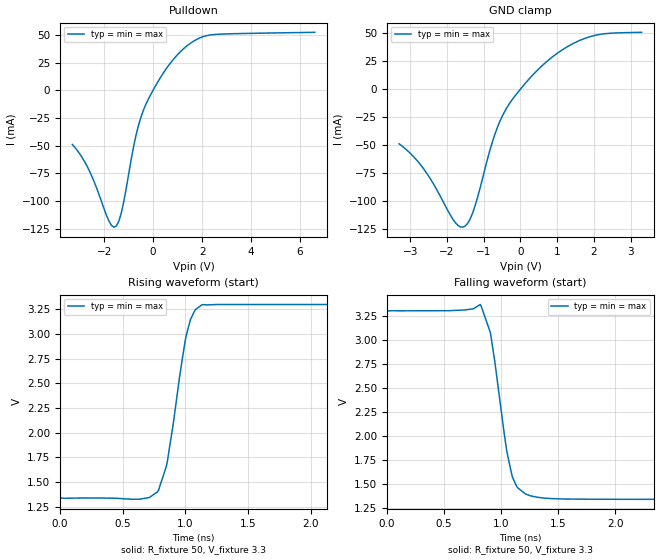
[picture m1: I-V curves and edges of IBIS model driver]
| IBIS file ex2_opendrain.ibs created by PYS2IBIS3
| Missouri S&T EMC Lab
[IBIS Ver] 7.1
[File Name] ex2_opendrain.ibs
[File Rev] 1.0
[Date] July 28, 2026
[Source] ex2 open-drain variant -- output pullup removed
[Notes] ex2 with the five output-stage pullup PMOS removed, so the pad has no
 path to VCC and is driven low only.
[Disclaimer] Experimental characterization for pybis observability study.
[Component] MCM Driver 1
[Manufacturer] MegaFLOPS Inc.
[Package]
| variable   typ   min   max
R_pkg 0 NA NA
L_pkg 0H NA NA
C_pkg 0F NA NA
[Pin]  signal_name   model_name   R_pin   L_pin   C_pin
vdd   vdd   POWER
gnd   gnd   GND
| in in dummy
out   out   driver
| End of Component
| Models and submodels in the file (1): driver (Open_drain)
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[Model] driver
Model_type Open_drain
Polarity Non-Inverting
Enable Active-Low
Vinl  = 0.8V
Vinh  = 2V
C_comp 5.0000pF 5.0000pF 5.0000pF
[Temperature Range] 27.0000 27.0000 27.0000
[Voltage Range] 3.3000V 3.3000V 3.3000V
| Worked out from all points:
|   slope of the pulldown table from 0 to 0.495 V, typ, clamps not added: 27.4 ohm
|   rising waveform, R_fixture 50, V_fixture 3.3: 20-80 % time 137ps typ, 137ps min, 137ps max; typ from 1.34 V to 3.3 V
|   falling waveform, R_fixture 50, V_fixture 3.3: 20-80 % time 141ps typ, 141ps min, 141ps max; typ from 3.3 V to 1.34 V
[Pulldown]
| Voltage   I(typ)   I(min)   I(max)
-3.3V     -48.93mA   -48.93mA   -48.93mA
-2.7V     -68.42mA   -68.42mA   -68.42mA
-1.8V     -118.2mA   -118.2mA   -118.2mA
-1.6V     -123.6mA   -123.6mA   -123.6mA
-1.4V     -118.3mA   -118.3mA   -118.3mA
-1.3V     -110.9mA   -110.9mA   -110.9mA
-700mV    -40.92mA   -40.92mA   -40.92mA
-400mV    -18.31mA   -18.31mA   -18.31mA
300mV     11.47mA    11.47mA    11.47mA
1.1V      34.42mA    34.42mA    34.42mA
2.3V      49.75mA    49.75mA    49.75mA
6.6V      52.25mA    52.25mA    52.25mA
[GND Clamp]
| Voltage   I(typ)   I(min)   I(max)
-3.3V     -48.93mA   -48.93mA   -48.93mA
-2.7V     -68.42mA   -68.42mA   -68.42mA
-1.833V   -116.7mA   -116.7mA   -116.7mA
-1.567V   -123.6mA   -123.6mA   -123.6mA
-1.433V   -120.1mA   -120.1mA   -120.1mA
-1.3V     -110.9mA   -110.9mA   -110.9mA
-766.7mV  -47.67mA   -47.67mA   -47.67mA
-500mV    -24.59mA   -24.59mA   -24.59mA
300mV     11.47mA    11.47mA    11.47mA
966.7mV   31.33mA    31.33mA    31.33mA
1.7V      44.86mA    44.86mA    44.86mA
3.3V      51mA       51mA       51mA
[Ramp]
| variable   typ   min   max
dV/dt_r 1.1772/0.1363n 1.1772/0.1363n 1.1772/0.1363n
dV/dt_f 1.1772/0.1423n 1.1772/0.1423n 1.1772/0.1423n
R_load = 50
[Rising Waveform]
R_fixture = 50
V_fixture = 3.3
|time   V(typ)   V(min)   V(max)
0s        1.338V     1.338V     1.338V
624.6ps   1.326V     1.326V     1.326V
784.8ps   1.415V     1.415V     1.415V
856.9ps   1.716V     1.716V     1.716V
961ps     2.628V     2.628V     2.628V
1.009ns   2.994V     2.994V     2.994V
1.041ns   3.149V     3.149V     3.149V
1.073ns   3.233V     3.233V     3.233V
1.137ns   3.299V     3.299V     3.299V
8ns       3.3V       3.3V       3.3V
[Falling Waveform]
R_fixture = 50
V_fixture = 3.3
|time   V(typ)   V(min)   V(max)
0s        3.3V       3.3V       3.3V
672.7ps   3.307V     3.307V     3.307V
816.8ps   3.366V     3.366V     3.366V
904.9ps   3.078V     3.078V     3.078V
944.9ps   2.772V     2.772V     2.772V
1.049ns   1.846V     1.846V     1.846V
1.097ns   1.578V     1.578V     1.578V
1.145ns   1.458V     1.458V     1.458V
1.305ns   1.362V     1.362V     1.362V
8ns       1.338V     1.338V     1.338V
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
